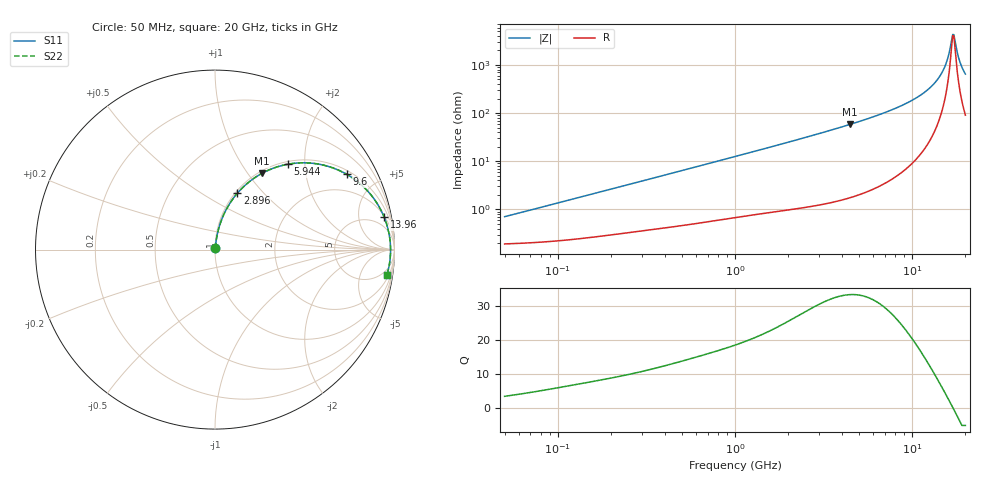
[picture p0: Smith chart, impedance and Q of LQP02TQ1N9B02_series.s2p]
!Murata Part Number: LQP02TQ1N9B02
!These Parameters are Measured in Series Mode Connection
!  o--[Z]--o
!Port1  Port2
!  o-------o
!Freq. Start=50[MHz] Stop=20[GHz], 401[Steps]
# Hz S RI R 50
!Freq.(Hz) S11(Real) S11(Imag) S21(Real) S21(Imag) S12(Real) S12(Imag) S22(Real) S22(Imag)
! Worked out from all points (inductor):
!   401 points, 50 MHz to 20 GHz, reference 50 ohm
!   read as one part in series: L = 2.15 nH near 51.52 MHz
!   highest Q = 33.4 at 4.472 GHz (marker M1), where L = 2.08 nH
!   self-resonance near 16.96 GHz
!   S11 on the Smith chart (normalised r, x): 50 MHz: 1.00, +0.01; 2.896 GHz: 1.02, +0.73; 5.944 GHz: 1.05, +1.64; 9.6 GHz: 1.16, +3.40; 13.96 GHz: 2, +10; 20 GHz: 3, -13
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5e7  0.00195 0.00675  0.998 -0.00675  0.998 -0.00675  0.00195 0.00675
1.364002e8  0.0028 0.0181  0.9972 -0.0181  0.9972 -0.0181  0.0028 0.0181
3.721004e8  0.00619 0.0473  0.9938 -0.0473  0.9938 -0.0473  0.00619 0.0473
1e9  0.0217 0.1214  0.9783 -0.1214  0.9783 -0.1214  0.0217 0.1214
2.728004e9  0.1125 0.2995  0.8875 -0.2995  0.8875 -0.2995  0.1125 0.2995
2.896447e9  0.1248 0.3143  0.8752 -0.3143  0.8752 -0.3143  0.1248 0.3143
4.472136e9  0.2603 0.4241  0.7397 -0.4241  0.7397 -0.4241  0.2603 0.4241
5.944466e9  0.4055 0.4756  0.5945 -0.4756  0.5945 -0.4756  0.4055 0.4756
7.442007e9  0.552 0.48  0.448 -0.48  0.448 -0.48  0.552 0.48
9.600142e9  0.7337 0.4196  0.2663 -0.4196  0.2663 -0.4196  0.7337 0.4196
1.201863e10  0.876 0.2961  0.124 -0.2961  0.124 -0.2961  0.876 0.2961
1.396067e10  0.9426 0.1806  0.0574 -0.1806  0.0574 -0.1806  0.9426 0.1806
1.482269e10  0.9603 0.1289  0.0397 -0.1289  0.0397 -0.1289  0.9603 0.1289
1.550395e10  0.9697 0.0888  0.0303 -0.0888  0.0303 -0.0888  0.9697 0.0888
1.597544e10  0.9741 0.0615  0.0259 -0.0615  0.0259 -0.0615  0.9741 0.0615
1.670968e10  0.9777 0.0202  0.0223 -0.0202  0.0223 -0.0202  0.9777 0.0202
1.696185e10  0.9782 0.00641  0.0218 -0.00641  0.0218 -0.00641  0.9782 0.00641
1.721783e10  0.9782 -0.00743  0.0218 0.00743  0.0218 0.00743  0.9782 -0.00743
1.747767e10  0.9779 -0.0213  0.0221 0.0213  0.0221 0.0213  0.9779 -0.0213
1.855685e10  0.9726 -0.0763  0.0274 0.0763  0.0274 0.0763  0.9726 -0.0763
1.940974e10  0.9646 -0.1169  0.0354 0.1169  0.0354 0.1169  0.9646 -0.1169
2e10  0.9573 -0.1434  0.0427 0.1434  0.0427 0.1434  0.9573 -0.1434
